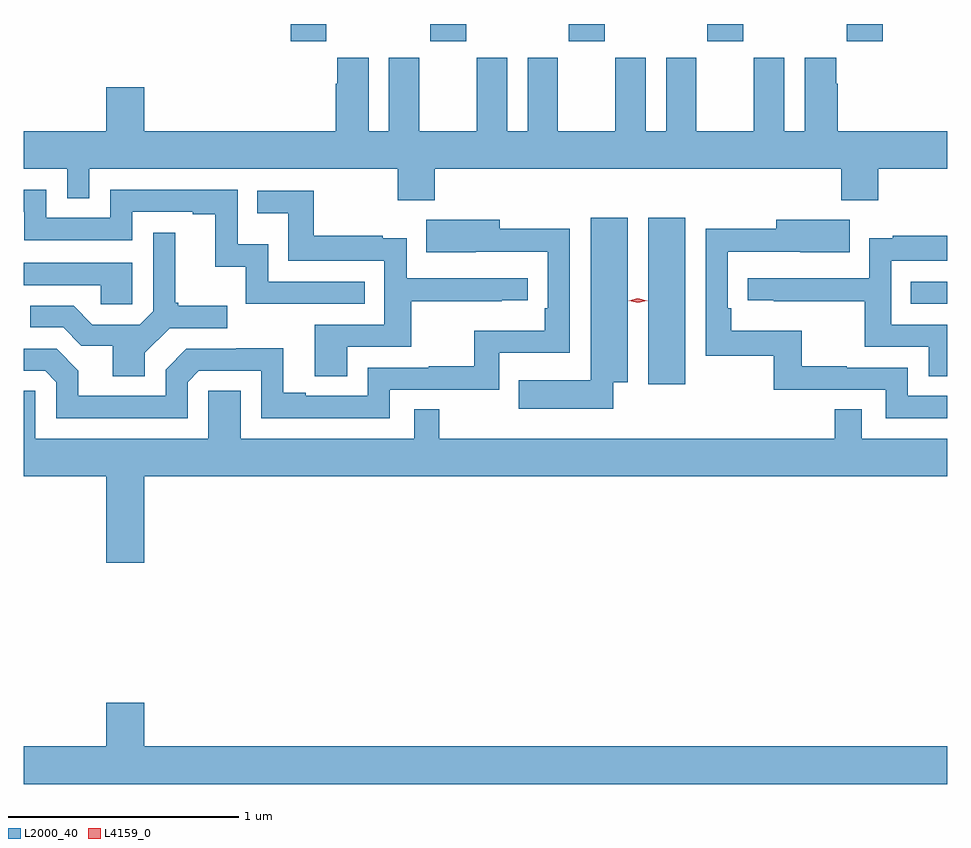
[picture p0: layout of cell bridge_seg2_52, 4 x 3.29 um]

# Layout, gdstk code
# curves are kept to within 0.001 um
import gdstk
lib = gdstk.Library(unit=1e-6, precision=1e-09)
def R(c, l, rs):  # rectangles x0, y0, x1, y1
    for r in rs: c.add(gdstk.rectangle(r[:2], r[2:], *l))
def A(c, l, x, y, w, h, nx, ny, dx, dy):  # array of equal rectangles
    R(c, l, [(x+i*dx, y+j*dy, x+i*dx+w, y+j*dy+h) for i in range(nx) for j in range(ny)])
def P(c, l, *ps):  # polygons
    for p in ps: c.add(gdstk.Polygon(p, *l))
L2000_40 = (2000, 40)
L4159_0 = (4159, 0)

bridge_seg2_52 = lib.new_cell('bridge_seg2_52')
A(bridge_seg2_52, L2000_40, 1113.463, 609.561, 0.155, 0.075, 3, 1, 0.6, 0)
R(bridge_seg2_52, L2000_40, [(1114.406,608.076,1114.567,608.797), (1115.545,608.424,1115.702,608.52), (1112.858,609.561,1113.013,609.636), (1115.267,609.561,1115.423,609.636)])
P(bridge_seg2_52, L2000_40, [(1115.243,608.873),(1115.403,608.873),(1115.403,609.008),(1115.702,609.008),(1115.702,609.172),(1115.228,609.172),(1115.228,609.377),(1115.221,609.377),(1115.221,609.49),(1115.084,609.49),(1115.084,609.172),(1114.996,609.172),(1114.996,609.49),(1114.865,609.49),(1114.865,609.172),(1114.615,609.172),(1114.615,609.49),(1114.484,609.49),(1114.484,609.172),(1114.396,609.172),(1114.396,609.49),(1114.265,609.49),(1114.265,609.172),(1114.015,609.172),(1114.015,609.49),(1113.884,609.49),(1113.884,609.172),(1113.796,609.172),(1113.796,609.49),(1113.665,609.49),(1113.665,609.172),(1113.415,609.172),(1113.415,609.49),(1113.284,609.49),(1113.284,609.172),(1113.196,609.172),(1113.196,609.49),(1113.059,609.49),(1113.059,609.377),(1113.053,609.377),(1113.053,609.172),(1112.224,609.172),(1112.224,609.361),(1112.06,609.361),(1112.06,609.172),(1111.702,609.172),(1111.702,609.008),(1111.89,609.008),(1111.89,608.881),(1111.986,608.881),(1111.986,609.008),(1113.322,609.008),(1113.322,608.873),(1113.482,608.873),(1113.482,609.008),(1115.243,609.008)],
  [(1113.179,608.52),(1112.76,608.52),(1112.76,608.683),(1112.628,608.683),(1112.628,608.919),(1112.076,608.919),(1112.076,608.796),(1111.8,608.796),(1111.8,608.919),(1111.702,608.919),(1111.702,608.823),(1111.704,608.823),(1111.704,608.7),(1112.172,608.7),(1112.172,608.823),(1112.435,608.823),(1112.435,608.811),(1112.531,608.811),(1112.531,608.585),(1112.664,608.585),(1112.664,608.424),(1113.179,608.424)],
  [(1113.103,608.238),(1113.38,608.238),(1113.38,608.434),(1113.773,608.434),(1113.773,608.439),(1113.886,608.439),(1113.886,608.535),(1113.36,608.535),(1113.36,608.707),(1113.257,608.707),(1113.257,608.719),(1112.959,608.719),(1112.959,608.913),(1112.713,608.913),(1112.713,608.816),(1112.848,608.816),(1112.848,608.61),(1113.264,608.61),(1113.264,608.334),(1112.963,608.334),(1112.963,608.11),(1113.103,608.11)],
  [(1114.255,608.084),(1114.318,608.084),(1114.318,608.797),(1114.157,608.797),(1114.157,608.092),(1113.847,608.092),(1113.847,607.97),(1114.255,607.97)],
  [(1115.702,608.025),(1115.532,608.025),(1115.532,608.148),(1115.267,608.148),(1115.267,608.153),(1115.071,608.153),(1115.071,608.308),(1114.766,608.308),(1114.766,608.404),(1114.752,608.404),(1114.752,608.649),(1115.065,608.649),(1115.065,608.648),(1115.279,608.648),(1115.279,608.788),(1114.961,608.788),(1114.961,608.75),(1114.656,608.75),(1114.656,608.199),(1114.95,608.199),(1114.95,608.052),(1115.436,608.052),(1115.436,607.929),(1115.702,607.929)],
  [(1112.412,608.085),(1112.46,608.133),(1112.73,608.133),(1112.73,607.929),(1113.288,607.929),(1113.288,608.052),(1113.762,608.052),(1113.762,608.211),(1114.068,608.211),(1114.068,608.75),(1113.763,608.75),(1113.763,608.788),(1113.445,608.788),(1113.445,608.648),(1113.972,608.649),(1113.972,608.404),(1113.959,608.404),(1113.959,608.308),(1113.654,608.308),(1113.654,608.153),(1113.457,608.153),(1113.457,608.148),(1113.192,608.148),(1113.192,608.025),(1112.923,608.025),(1112.923,608.038),(1112.827,608.038),(1112.827,608.231),(1112.622,608.231),(1112.622,608.229),(1112.406,608.229),(1112.316,608.139),(1112.316,608.025),(1111.939,608.025),(1111.939,608.135),(1111.845,608.229),(1111.702,608.229),(1111.702,608.133),(1111.794,608.133),(1111.842,608.085),(1111.842,607.929),(1112.412,607.929)],
  [(1112.227,608.212),(1112.334,608.319),(1112.584,608.319),(1112.584,608.416),(1112.371,608.416),(1112.371,608.428),(1112.359,608.428),(1112.359,608.731),(1112.262,608.731),(1112.262,608.391),(1112.205,608.334),(1111.999,608.334),(1111.918,608.415),(1111.731,608.415),(1111.731,608.322),(1111.872,608.322),(1111.952,608.242),(1112.087,608.242),(1112.087,608.11),(1112.227,608.11)],
  [(1115.702,608.334),(1115.46,608.334),(1115.46,608.61),(1115.702,608.61),(1115.702,608.719),(1115.467,608.719),(1115.467,608.707),(1115.364,608.707),(1115.364,608.535),(1114.839,608.535),(1114.839,608.439),(1114.951,608.439),(1114.951,608.434),(1115.344,608.434),(1115.344,608.238),(1115.621,608.238),(1115.621,608.11),(1115.702,608.11)],
  [(1112.172,608.601),(1111.702,608.601),(1111.702,608.505),(1112.035,608.505),(1112.035,608.421),(1112.172,608.421)],
  [(1111.702,608.048),(1111.702,607.676),(1112.06,607.676),(1112.06,607.302),(1112.224,607.302),(1112.224,607.676),(1115.702,607.676),(1115.702,607.84),(1115.331,607.84),(1115.331,607.967),(1115.215,607.967),(1115.215,607.84),(1113.502,607.84),(1113.502,607.967),(1113.393,607.967),(1113.393,607.84),(1112.641,607.84),(1112.641,608.048),(1112.502,608.048),(1112.502,607.84),(1111.752,607.84),(1111.752,608.048)],
  [(1115.702,606.508),(1112.224,606.508),(1112.224,606.697),(1112.06,606.697),(1112.06,606.508),(1111.702,606.508),(1111.702,606.344),(1115.702,606.344)])
P(bridge_seg2_52, L4159_0, [(1114.362,608.428),(1114.322,608.438),(1114.322,608.438),(1114.322,608.438),(1114.362,608.448),(1114.402,608.438),(1114.402,608.438),(1114.402,608.437)])

lib.write_gds('bridge_seg2_52.gds')
